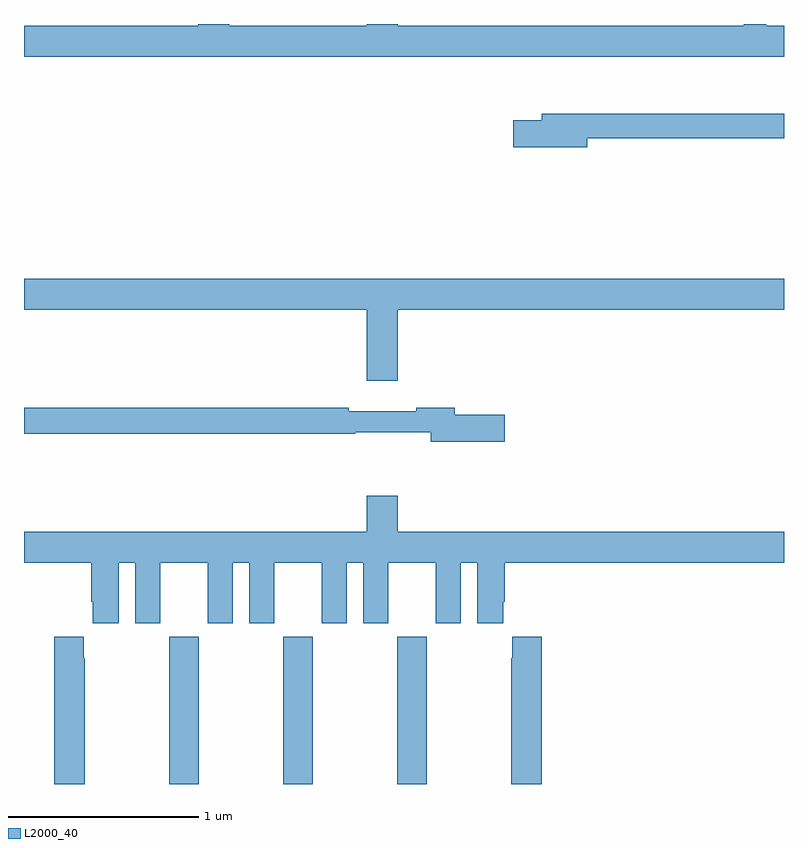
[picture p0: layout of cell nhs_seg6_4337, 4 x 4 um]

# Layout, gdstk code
import gdstk
lib = gdstk.Library(unit=1e-6, precision=1e-09)
def R(c, l, rs):  # rectangles x0, y0, x1, y1
    for r in rs: c.add(gdstk.rectangle(r[:2], r[2:], *l))
def A(c, l, x, y, w, h, nx, ny, dx, dy):  # array of equal rectangles
    R(c, l, [(x+i*dx, y+j*dy, x+i*dx+w, y+j*dy+h) for i in range(nx) for j in range(ny)])
def P(c, l, *ps):  # polygons
    for p in ps: c.add(gdstk.Polygon(p, *l))
L2000_40 = (2000, 40)

nhs_seg6_4337 = lib.new_cell('nhs_seg6_4337')
A(nhs_seg6_4337, L2000_40, 367.765, 951.5, 0.155, 0.776, 3, 1, 0.6, 0)
P(nhs_seg6_4337, L2000_40, [(371,955.492),(370.907,955.492),(370.907,955.5),(370.789,955.5),(370.789,955.492),(368.968,955.492),(368.968,955.5),(368.804,955.5),(368.804,955.492),(368.08,955.492),(368.08,955.5),(367.916,955.5),(367.916,955.492),(367,955.492),(367,955.328),(371,955.328)],
  [(369.964,954.898),(371,954.898),(371,955.027),(369.725,955.027),(369.725,954.993),(369.576,954.993),(369.576,954.851),(369.964,954.851)],
  [(368.968,953.996),(371,953.996),(371,954.16),(367,954.16),(367,953.996),(368.804,953.996),(368.804,953.622),(368.968,953.622)],
  [(369.529,953.444),(369.268,953.444),(369.268,953.48),(369.064,953.48),(369.064,953.461),(368.708,953.461),(368.708,953.48),(367,953.48),(367,953.344),(368.744,953.344),(368.744,953.352),(369.14,953.352),(369.14,953.302),(369.529,953.302)],
  [(367,952.664),(367.355,952.664),(367.355,952.459),(367.361,952.459),(367.361,952.347),(367.498,952.347),(367.498,952.664),(367.586,952.664),(367.586,952.347),(367.717,952.347),(367.717,952.664),(367.967,952.664),(367.967,952.347),(368.098,952.347),(368.098,952.664),(368.186,952.664),(368.186,952.347),(368.317,952.347),(368.317,952.664),(368.567,952.664),(368.567,952.347),(368.698,952.347),(368.698,952.664),(368.786,952.664),(368.786,952.347),(368.917,952.347),(368.917,952.664),(369.167,952.664),(369.167,952.347),(369.298,952.347),(369.298,952.664),(369.386,952.664),(369.386,952.347),(369.523,952.347),(369.523,952.459),(369.53,952.459),(369.53,952.664),(371,952.664),(371,952.828),(368.968,952.828),(368.968,953.017),(368.804,953.017),(368.804,952.828),(367,952.828)],
  [(367.32,952.163),(367.315,952.163),(367.315,952.276),(367.16,952.276),(367.16,951.5),(367.32,951.5)],
  [(369.725,952.276),(369.569,952.276),(369.569,952.163),(369.565,952.163),(369.565,951.5),(369.725,951.5)])

lib.write_gds('nhs_seg6_4337.gds')
